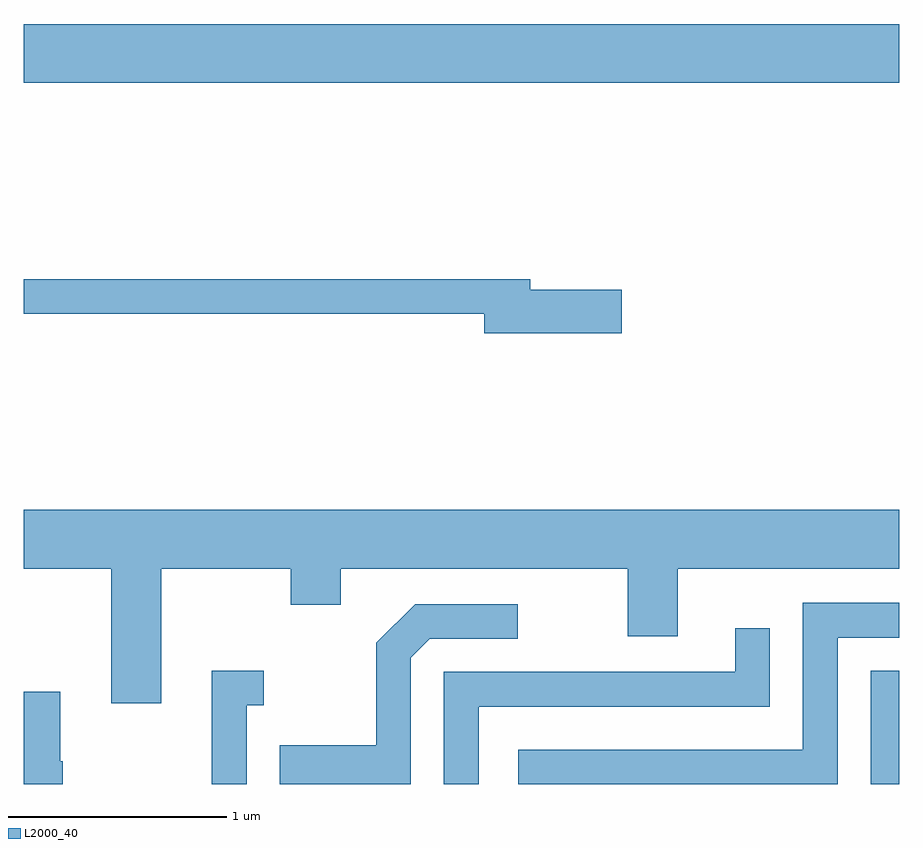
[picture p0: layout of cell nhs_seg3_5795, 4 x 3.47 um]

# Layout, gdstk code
import gdstk
lib = gdstk.Library(unit=1e-6, precision=1e-09)
def R(c, l, rs):  # rectangles x0, y0, x1, y1
    for r in rs: c.add(gdstk.rectangle(r[:2], r[2:], *l))
def P(c, l, *ps):  # polygons
    for p in ps: c.add(gdstk.Polygon(p, *l))
L2000_40 = (2000, 40)

nhs_seg3_5795 = lib.new_cell('nhs_seg3_5795')
R(nhs_seg3_5795, L2000_40, [(359.481,1153.892,359.611,1154.409), (355.611,1157.096,359.611,1157.364)])
P(nhs_seg3_5795, L2000_40, [(358.344,1156.149),(357.924,1156.149),(357.924,1156.199),(355.611,1156.199),(355.611,1156.041),(357.716,1156.041),(357.716,1155.951),(358.344,1155.951)],
  [(356.239,1154.876),(356.831,1154.876),(356.831,1154.711),(357.059,1154.711),(357.059,1154.876),(358.371,1154.876),(358.371,1154.566),(358.599,1154.566),(358.599,1154.876),(359.611,1154.876),(359.611,1155.144),(355.611,1155.144),(355.611,1154.876),(356.011,1154.876),(356.011,1154.261),(356.239,1154.261)],
  [(359.329,1154.561),(359.611,1154.561),(359.611,1154.719),(359.171,1154.719),(359.171,1154.049),(357.871,1154.049),(357.871,1153.892),(359.329,1153.892)],
  [(357.379,1154.469),(357.467,1154.556),(357.868,1154.556),(357.868,1154.714),(357.399,1154.714),(357.221,1154.537),(357.221,1154.069),(356.781,1154.069),(356.781,1153.892),(357.379,1153.892)],
  [(357.689,1154.246),(359.019,1154.246),(359.019,1154.603),(358.861,1154.603),(358.861,1154.404),(357.531,1154.404),(357.531,1153.892),(357.689,1153.892)],
  [(356.629,1154.251),(356.708,1154.251),(356.708,1154.409),(356.471,1154.409),(356.471,1153.892),(356.629,1153.892)],
  [(355.789,1153.995),(355.779,1153.995),(355.779,1154.314),(355.611,1154.314),(355.611,1153.892),(355.789,1153.892)])

lib.write_gds('nhs_seg3_5795.gds')
